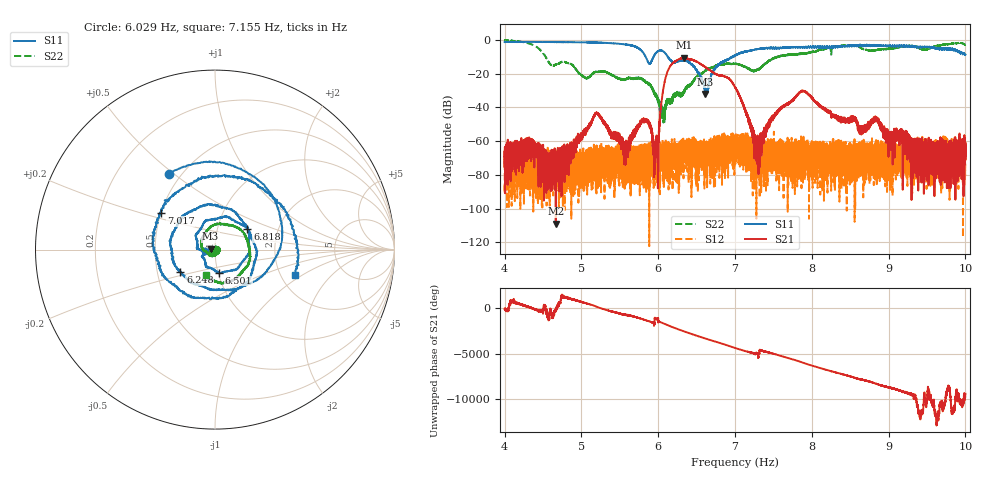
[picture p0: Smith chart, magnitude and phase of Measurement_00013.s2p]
!Created with skrf (http://scikit-rf.org).
# Hz S RI R 50.0
!freq ReS11 ImS11 ReS21 ImS21 ReS12 ImS12 ReS22 ImS22
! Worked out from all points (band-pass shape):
!   14001 points, 4 Hz to 10 Hz, reference 50 ohm
!   highest |S21| = -10.47 dB at 6.338 Hz (marker M1); lowest = -109.1 dB at 4.666 Hz (marker M2)
!   |S21| within 3 dB of the highest: 6.195 Hz to 6.528 Hz (333.2 mHz wide, 5.24 % of centre); 6.528176 Hz to 6.529502 Hz (1.326 mHz wide, 0.0203 % of centre)
!   lowest |S11| = -32.0 dB at 6.61 Hz (marker M3), VSWR 1.05, Z = 47.6 + j0.416 ohm
!   |S11| at or under -10 dB: 5.837 Hz to 5.937 Hz (100.2 mHz wide, 1.7 % of centre); 5.938297 Hz to 5.938667 Hz (370.9 uHz wide, 0.00625 % of centre); 6.126 Hz to 6.961 Hz (834.3 mHz wide, 12.8 % of centre) (the widest 3 of 5)
!   |S22| runs from -49.2 to -0.2 dB; largest |S21 - S12| = 0.3
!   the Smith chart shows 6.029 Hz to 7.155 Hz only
!   S11 on the Smith chart (normalised r, x): 6.029 Hz: 0.43, +0.48; 6.248 Hz: 0.66, -0.18; 6.501 Hz: 1.01, -0.27; 6.818 Hz: 1.40, +0.33; 7.017 Hz: 0.50, +0.24; 7.155 Hz: 2.40, -0.87
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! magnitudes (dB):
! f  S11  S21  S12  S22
! 4 Hz  -1.1  -69.4  -86.2  -0.2
! 4.666 Hz  -1.1  -109.1  -70.8  -14.5
! 5 Hz  -1.3  -57.9  -78.9  -20.8
! 5.201 Hz  -1.5  -43.6  -70.1  -18.8
! 5.568 Hz  -2.5  -61.6  -64.9  -23.6
! 5.812 Hz  -8.0  -47.6  -68.5  -23.8
! 6 Hz  -6.5  -79.9  -75.8  -35.5
! 6.029 Hz  -6.1  -42.6  -76.8  -39.5
! 6.109 Hz  -8.7  -20.3  -71.9  -38.1
! 6.248 Hz  -12.8  -11.8  -63.6  -31.6
! 6.338 Hz  -12.0  -10.5  -63.7  -31.2
! 6.501 Hz  -17.7  -12.8  -62.9  -21.5
! 6.61 Hz  -32.0  -15.8  -81.5  -18.3
! 6.818 Hz  -13.4  -21.0  -65.2  -14.5
! 7 Hz  -9.1  -27.8  -59.1  -14.0
! 7.017 Hz  -8.8  -29.3  -61.9  -14.1
! 7.155 Hz  -6.6  -44.4  -64.4  -16.4
! 7.307 Hz  -5.3  -63.9  -65.4  -17.3
! 7.586 Hz  -4.7  -40.9  -62.1  -9.7
! 8 Hz  -4.2  -34.5  -64.0  -6.9
! 9 Hz  -3.5  -59.6  -67.9  -5.0
! 10 Hz  -8.6  -65.6  -69.3  -3.0
